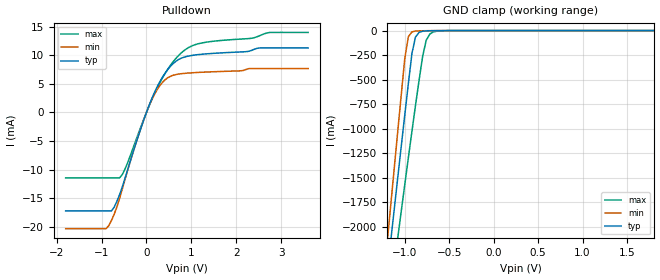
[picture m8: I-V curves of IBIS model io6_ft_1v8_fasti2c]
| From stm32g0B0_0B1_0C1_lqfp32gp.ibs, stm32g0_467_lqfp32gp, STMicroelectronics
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[Model]  io6_ft_1v8_fasti2c
Model_type I/O_open_drain
Polarity   Non-Inverting
Enable   Active-Low
Vinl =   0.540000V
Vinh =   1.260000V
Vmeas =  0.90000V
Cref =   30.000000pF
Rref =   500
Vref =   3.0V
C_comp   1.277600pF   1.236700pF   1.315100pF
[Temperature Range]   25.000000   -40.000000   0.125000k
[Pullup Reference]   1.800000V   1.600000V   2.000000V
[Pulldown Reference]   0.0V   0.0V   0.0V
[POWER Clamp Reference]   1.800000V   1.600000V   2.000000V
[GND Clamp Reference]   0.0V   0.0V   0.0V
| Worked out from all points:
|   slope of the pulldown table from 0 to 0.27 V, typ, clamps not added: 54.7 ohm
|   GND clamp passes 1 mA (typ) near -0.66 V on its own axis
[Pulldown]
|Voltage   I(typ)   I(min)   I(max)
-1.8V     -17.22mA   -20.33mA   -11.45mA
-900mV    -17.22mA   -20.33mA   -11.45mA
-720mV    -16.58mA   -17.82mA   -11.45mA
-600mV    -14.41mA   -15.08mA   -11.45mA
-480mV    -11.58mA   -11.79mA   -9.954mA
0V        10fA       11fA       0A
240mV     4.49mA     3.999mA    4.291mA
480mV     7.563mA    6.085mA    7.612mA
780mV     9.487mA    6.76mA     10.43mA
1.14V     10.08mA    6.976mA    11.96mA
2.76V     11.26mA    7.652mA    13.98mA
3.6V      11.26mA    7.652mA    13.98mA
[GND_clamp]
|Voltage   I(typ)   I(min)   I(max)
-1.8V     -7.471A    -7.973A    -7.298A
-1.2V     -2.489A    -2.18A     -2.954A
-1.16V    -2.16A     -1.797A    -2.674A
-1.08V    -1.505A    -1.034A    -2.118A
-1V       -857.9mA   -283.1mA   -1.568A
-960mV    -540.4mA   -62.14mA   -1.296A
-920mV    -234.4mA   -13.75mA   -1.028A
-880mV    -66.29mA   -4.855mA   -765.3mA
-800mV    -6.505mA   -2.056mA   -266mA
-760mV    -3.074mA   -1.45mA    -100.4mA
-680mV    -1.215mA   -557.1uA   -14.19mA
1.8V      0A         0A         0A
[POWER_clamp]
|Voltage   I(typ)   I(min)   I(max)
-1.8V     0A         0A         0A
0V        0A         0A         0A
[Ramp]
| variable   typ   min   max
dV/dt_r  0.306/4.06140n   0.211/4.37750n   0.370/4.25525n
dV/dt_f  0.30570/3.93750n   0.21030/4.44000n   0.37008/3.81562n
R_load = 50.000000
